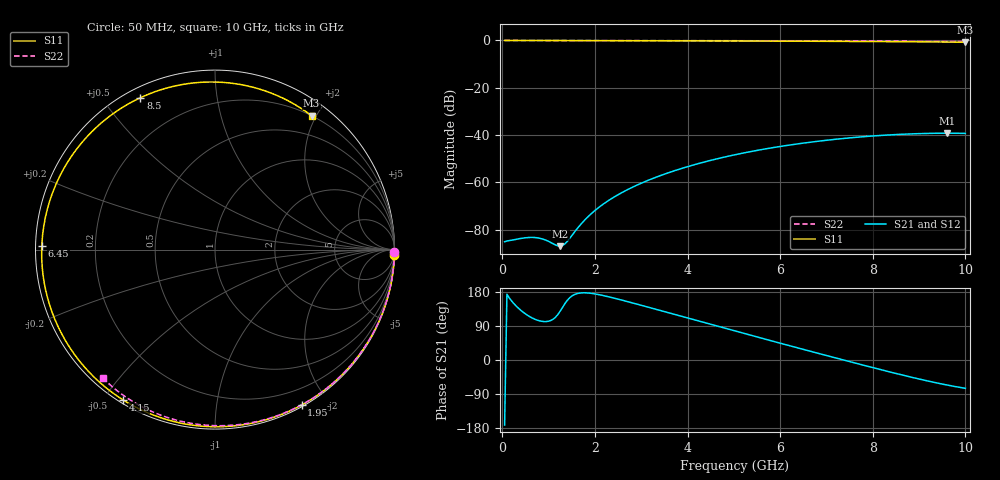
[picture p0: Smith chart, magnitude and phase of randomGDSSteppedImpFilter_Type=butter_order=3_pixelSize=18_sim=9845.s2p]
! freq	dB(S11)	phase(S11)	dB(S12)	phase(S12)
!  dB(S21)	phase(S21)	dB(S22)	phase(S22)
!S-par simulation data
#  GHz  S  DB  R 50
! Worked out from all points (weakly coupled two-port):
!   200 points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, 50 MHz to 10 GHz, reference 50 ohm
!   highest |S21| = -39.23 dB at 9.6 GHz (marker M1); lowest = -87.0 dB at 1.25 GHz (marker M2)
!   lowest |S11| = -0.7 dB at 10 GHz (marker M3), VSWR 23.92, Z = 10 + j96.9 ohm
!   |S11| at or under -10 dB: nowhere
!   |S22| runs from -0.4 to 0.0 dB; largest |S21 - S12| = 0
!   S11 on the Smith chart (normalised r, x): 50 MHz: 0, -71; 1.95 GHz: 0.02, -1.70; 4.15 GHz: 0.01, -0.56; 6.45 GHz: 0.02, +0.01; 8.5 GHz: 0.04, +0.62; 10 GHz: 0.20, +1.94
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0.05  -0.00 -1.6  -85.17 -171.8  -85.17 -171.8  -0.00 -0.8
0.6  -0.02 -19.3  -83.33 113.9  -83.33 113.9  -0.01 -9.1
1.25  -0.05 -39.7  -87.03 128.9  -87.03 128.9  -0.02 -18.8
1.6  -0.06 -50.4  -80.03 174.7  -80.03 174.7  -0.03 -23.9
1.75  -0.07 -54.9  -76.58 177.3  -76.58 177.3  -0.03 -26.1
1.95  -0.08 -60.8  -72.78 175.4  -72.78 175.4  -0.04 -29.1
2.25  -0.09 -69.6  -68.28 168.1  -68.28 168.1  -0.04 -33.4
2.55  -0.10 -78.2  -64.71 159.0  -64.71 159.0  -0.05 -37.8
3.4  -0.13 -101.8  -57.26 131.1  -57.26 131.1  -0.07 -49.8
4.15  -0.16 -121.6  -52.55 106.0  -52.55 106.0  -0.08 -60.1
5.05  -0.21 -144.7  -48.24 75.9  -48.24 75.9  -0.11 -72.0
5.75  -0.25 -162.7  -45.65 52.6  -45.65 52.6  -0.14 -81.0
6.45  -0.31 178.9  -43.56 29.6  -43.56 29.6  -0.17 -89.8
6.7  -0.33 172.0  -42.92 21.5  -42.92 21.5  -0.18 -92.9
7.15  -0.37 159.3  -41.90 7.0  -41.90 7.0  -0.20 -98.3
7.55  -0.41 147.4  -41.12 -5.8  -41.12 -5.8  -0.23 -103.1
7.95  -0.45 134.9  -40.48 -18.5  -40.48 -18.5  -0.26 -107.8
8.35  -0.49 121.4  -39.97 -31.0  -39.97 -31.0  -0.29 -112.4
8.5  -0.51 116.2  -39.81 -35.5  -39.81 -35.5  -0.30 -114.1
9.1  -0.58 93.5  -39.36 -53.0  -39.36 -53.0  -0.35 -121.0
9.6  -0.66 72.5  -39.23 -65.9  -39.23 -65.9  -0.40 -126.7
10  -0.73 54.2  -39.33 -74.8  -39.33 -74.8  -0.44 -131.1
